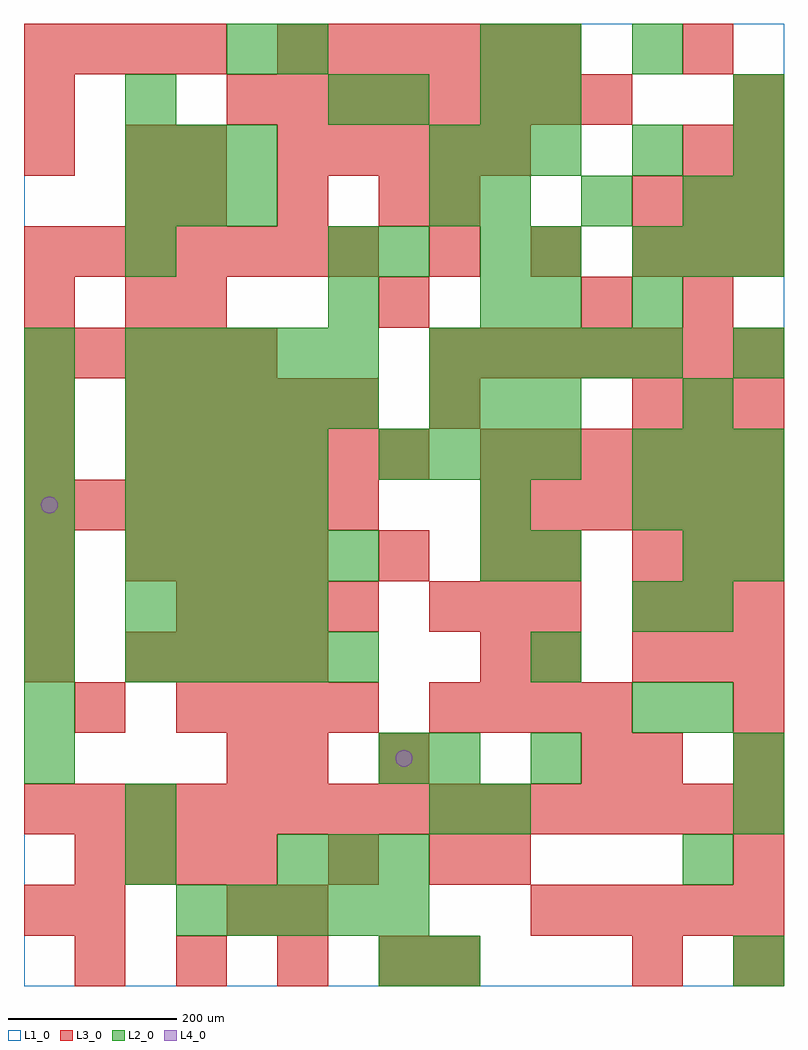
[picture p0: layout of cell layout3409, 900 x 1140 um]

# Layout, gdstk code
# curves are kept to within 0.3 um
import gdstk
lib = gdstk.Library(unit=1e-6, precision=1e-09)
def R(c, l, rs):  # rectangles x0, y0, x1, y1
    for r in rs: c.add(gdstk.rectangle(r[:2], r[2:], *l))
def A(c, l, x, y, w, h, nx, ny, dx, dy):  # array of equal rectangles
    R(c, l, [(x+i*dx, y+j*dy, x+i*dx+w, y+j*dy+h) for i in range(nx) for j in range(ny)])
def P(c, l, *ps):  # polygons
    for p in ps: c.add(gdstk.Polygon(p, *l))
L1_0 = (1, 0)
L2_0 = (2, 0)
L3_0 = (3, 0)
L4_0 = (4, 0)

layout3409 = lib.new_cell('layout3409')
R(layout3409, L1_0, [(0,0,900,1140)])
A(layout3409, L2_0, 180, 60, 60, 60, 5, 1, 60, 0)
A(layout3409, L2_0, 300, 120, 60, 60, 3, 1, 60, 0)
A(layout3409, L2_0, 0, 240, 60, 60, 1, 9, 0, 60)
A(layout3409, L2_0, 600, 240, 60, 60, 1, 3, 0, 120)
A(layout3409, L2_0, 840, 240, 60, 60, 1, 3, 0, 240)
A(layout3409, L2_0, 120, 360, 60, 60, 5, 2, 60, 120)
A(layout3409, L2_0, 120, 420, 60, 60, 4, 2, 60, 120)
A(layout3409, L2_0, 720, 540, 60, 60, 3, 2, 60, 60)
A(layout3409, L2_0, 120, 600, 60, 60, 4, 1, 60, 0)
A(layout3409, L2_0, 420, 600, 60, 60, 4, 1, 60, 0)
A(layout3409, L2_0, 120, 660, 60, 60, 5, 2, 60, 60)
A(layout3409, L2_0, 480, 660, 60, 60, 3, 2, 60, 300)
A(layout3409, L2_0, 480, 720, 60, 60, 5, 1, 60, 0)
A(layout3409, L2_0, 720, 840, 60, 60, 3, 1, 60, 0)
A(layout3409, L2_0, 120, 900, 60, 60, 3, 2, 60, 60)
A(layout3409, L2_0, 540, 900, 60, 60, 3, 1, 120, 0)
A(layout3409, L2_0, 840, 900, 60, 60, 1, 3, 0, 60)
R(layout3409, L2_0, [(420,0,480,60), (480,0,540,60), (840,0,900,60), (120,120,180,180), (780,120,840,180), (120,180,180,240), (480,180,540,240), (540,180,600,240), (840,180,900,240), (420,240,480,300), (480,240,540,300), (720,300,780,360), (780,300,840,360), (720,420,780,480), (780,420,840,480), (540,480,600,540), (780,480,840,540), (540,540,600,600), (780,660,840,720), (360,780,420,840), (540,780,600,840), (600,780,660,840), (720,780,780,840), (120,840,180,900), (360,840,420,900), (420,840,480,900), (540,840,600,900), (600,840,660,900), (480,900,540,960), (720,960,780,1020), (120,1020,180,1080), (360,1020,420,1080), (420,1020,480,1080), (540,1020,600,1080), (600,1020,660,1080), (240,1080,300,1140), (300,1080,360,1140), (540,1080,600,1140), (600,1080,660,1140), (720,1080,780,1140)])
A(layout3409, L3_0, 60, 0, 60, 60, 4, 1, 120, 0)
A(layout3409, L3_0, 840, 0, 60, 60, 1, 3, 0, 120)
A(layout3409, L3_0, 600, 60, 60, 60, 5, 1, 60, 0)
A(layout3409, L3_0, 60, 120, 60, 60, 4, 1, 60, 0)
A(layout3409, L3_0, 0, 180, 60, 60, 15, 1, 60, 0)
A(layout3409, L3_0, 180, 300, 60, 60, 4, 2, 60, 120)
A(layout3409, L3_0, 480, 300, 60, 60, 4, 1, 60, 0)
A(layout3409, L3_0, 0, 360, 60, 60, 1, 3, 0, 60)
A(layout3409, L3_0, 120, 360, 60, 60, 4, 2, 60, 120)
A(layout3409, L3_0, 720, 360, 60, 60, 3, 3, 60, 60)
A(layout3409, L3_0, 480, 420, 60, 60, 3, 1, 60, 0)
A(layout3409, L3_0, 0, 540, 60, 60, 7, 2, 60, 300)
A(layout3409, L3_0, 540, 540, 60, 60, 6, 2, 60, 60)
A(layout3409, L3_0, 120, 600, 60, 60, 6, 1, 60, 0)
A(layout3409, L3_0, 120, 660, 60, 60, 5, 1, 60, 0)
A(layout3409, L3_0, 720, 660, 60, 60, 3, 2, 60, 240)
A(layout3409, L3_0, 0, 720, 60, 60, 5, 1, 60, 0)
A(layout3409, L3_0, 480, 720, 60, 60, 7, 1, 60, 0)
A(layout3409, L3_0, 180, 780, 60, 60, 3, 1, 240, 0)
A(layout3409, L3_0, 480, 840, 60, 60, 3, 1, 120, 0)
A(layout3409, L3_0, 780, 840, 60, 60, 1, 3, 0, 120)
A(layout3409, L3_0, 180, 900, 60, 60, 3, 1, 120, 0)
A(layout3409, L3_0, 300, 960, 60, 60, 5, 1, 60, 0)
A(layout3409, L3_0, 240, 1020, 60, 60, 8, 1, 60, 0)
A(layout3409, L3_0, 0, 1080, 60, 60, 4, 1, 60, 0)
A(layout3409, L3_0, 300, 1080, 60, 60, 6, 1, 60, 0)
R(layout3409, L3_0, [(480,0,540,60), (720,0,780,60), (0,60,60,120), (60,60,120,120), (240,60,300,120), (300,60,360,120), (360,120,420,180), (480,120,540,180), (540,120,600,180), (240,240,300,300), (300,240,360,300), (420,240,480,300), (660,240,720,300), (720,240,780,300), (60,300,120,360), (840,300,900,360), (540,360,600,420), (600,360,660,420), (420,480,480,540), (540,480,600,540), (600,480,660,540), (0,600,60,660), (0,660,60,720), (480,660,540,720), (0,780,60,840), (120,780,180,840), (780,780,840,840), (840,840,900,900), (120,900,180,960), (480,900,540,960), (0,960,60,1020), (120,960,180,1020), (180,960,240,1020), (840,960,900,1020), (0,1020,60,1080), (840,1020,900,1080)])
P(layout3409, L4_0, [(40,570),(39.239,573.827),(37.071,577.071),(33.827,579.239),(30,580),(26.173,579.239),(22.929,577.071),(20.761,573.827),(20,570),(20.761,566.173),(22.929,562.929),(26.173,560.761),(30,560),(33.827,560.761),(37.071,562.929),(39.239,566.173)],
  [(460,270),(459.239,273.827),(457.071,277.071),(453.827,279.239),(450,280),(446.173,279.239),(442.929,277.071),(440.761,273.827),(440,270),(440.761,266.173),(442.929,262.929),(446.173,260.761),(450,260),(453.827,260.761),(457.071,262.929),(459.239,266.173)])

lib.write_gds('layout3409.gds')
